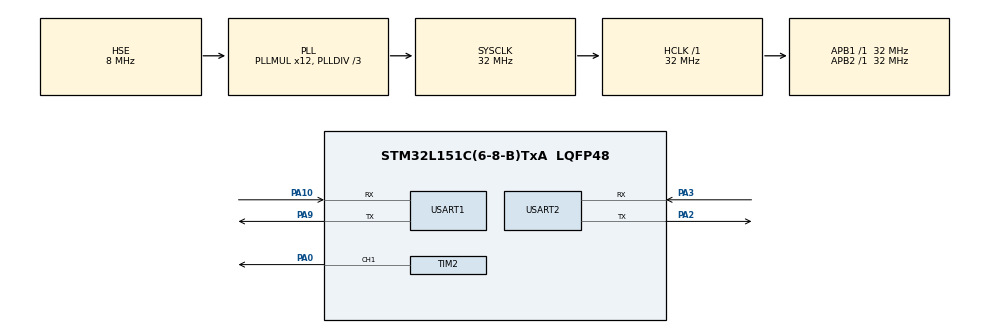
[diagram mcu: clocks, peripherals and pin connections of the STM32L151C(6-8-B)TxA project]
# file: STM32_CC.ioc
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Dma.Request0=TIM2_CH1
Dma.TIM2_CH1.0.Direction=DMA_MEMORY_TO_PERIPH
Dma.TIM2_CH1.0.Instance=DMA1_Channel5
Dma.TIM2_CH1.0.MemDataAlignment=DMA_MDATAALIGN_HALFWORD
Dma.TIM2_CH1.0.MemInc=DMA_MINC_ENABLE
Dma.TIM2_CH1.0.Mode=DMA_NORMAL
Dma.TIM2_CH1.0.PeriphDataAlignment=DMA_PDATAALIGN_HALFWORD
Dma.TIM2_CH1.0.PeriphInc=DMA_PINC_DISABLE
Dma.TIM2_CH1.0.Priority=DMA_PRIORITY_MEDIUM
Mcu.Family=STM32L1
Mcu.Name=STM32L151C(6-8-B)TxA
Mcu.Package=LQFP48
NVIC.DMA1_Channel5_IRQn=true\:1\:0\:true\:false\:true\:false\:true
NVIC.PriorityGroup=NVIC_PRIORITYGROUP_4
NVIC.TIM2_IRQn=true\:1\:0\:true\:false\:true\:true\:true
NVIC.USART1_IRQn=true\:2\:0\:true\:false\:true\:true\:true
NVIC.USART2_IRQn=true\:2\:0\:true\:false\:true\:true\:true
PA0-WKUP1.Signal=S_TIM2_CH1_ETR
PA10.Mode=Asynchronous
PA10.Signal=USART1_RX
PA13.Mode=Serial_Wire
PA13.Signal=SYS_JTMS-SWDIO
PA14.Mode=Serial_Wire
PA14.Signal=SYS_JTCK-SWCLK
PA2.Mode=Asynchronous
PA2.Signal=USART2_TX
PA3.Mode=Asynchronous
PA3.Signal=USART2_RX
PA9.Mode=Asynchronous
PA9.Signal=USART1_TX
PC14-OSC32_IN.Mode=LSE-External-Oscillator
PC14-OSC32_IN.Signal=RCC_OSC32_IN
PC15-OSC32_OUT.Mode=LSE-External-Oscillator
PC15-OSC32_OUT.Signal=RCC_OSC32_OUT
PH0-OSC_IN.Mode=HSE-External-Oscillator
PH0-OSC_IN.Signal=RCC_OSC_IN
PH1-OSC_OUT.Mode=HSE-External-Oscillator
PH1-OSC_OUT.Signal=RCC_OSC_OUT
ProjectManager.HeapSize=0x800
ProjectManager.StackSize=0xF00
ProjectManager.TargetToolchain=MDK-ARM V5
RCC.48MHZClocksFreq_Value=48000000
RCC.AHBFreq_Value=32000000
RCC.APB1Freq_Value=32000000
RCC.APB1TimFreq_Value=32000000
RCC.APB2Freq_Value=32000000
RCC.APB2TimFreq_Value=32000000
RCC.HCLKFreq_Value=32000000
RCC.HSE_VALUE=8000000
RCC.HSI_VALUE=16000000
RCC.MSI_VALUE=2097000
RCC.PLLDIV=RCC_PLL_DIV3
RCC.PLLMUL=RCC_PLL_MUL12
RCC.PLLSourceVirtual=RCC_PLLSOURCE_HSE
RCC.SYSCLKFreq_VALUE=32000000
RCC.SYSCLKSource=RCC_SYSCLKSOURCE_PLLCLK
RCC.VCOOutputFreq_Value=96000000
SH.S_TIM2_CH1_ETR.0=TIM2_CH1,PWM Generation1 CH1
TIM2.Channel-PWM\ Generation1\ CH1=TIM_CHANNEL_1
TIM2.Period=40-1
USART1.VirtualMode=VM_ASYNC
USART2.VirtualMode=VM_ASYNC
VP_TIM2_VS_ClockSourceINT.Mode=Internal
board=custom

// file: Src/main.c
/* USER CODE BEGIN Header */
/**
  ******************************************************************************
  * @file           : main.c
  * @brief          : Main program body
  ******************************************************************************
  * @attention
  *
  * <h2><center>&copy; Copyright (c) 2020 STMicroelectronics.
  * All rights reserved.</center></h2>
  *
  * This software component is licensed by ST under BSD 3-Clause license,
  * the "License"; You may not use this file except in compliance with the
  * License. You may obtain a copy of the License at:
  *                        opensource.org/licenses/BSD-3-Clause
  *
  ******************************************************************************
  */
/* USER CODE END Header */

#include "main.h"

/* USER CODE BEGIN Includes */
#include "string.h"
#include "stdio.h"
#include "stdlib.h"

#include "colorset.h"
#include "ws2812b.h"
/* USER CODE END Includes */

TIM_HandleTypeDef htim2;
DMA_HandleTypeDef hdma_tim2_ch1;

UART_HandleTypeDef huart1;
UART_HandleTypeDef huart2;

/* USER CODE BEGIN PV */
#define MAX_RECV_LEN 128

char  recv[100];
int recvtype=0;

int ONOFF_FLG=0;

char g[] ="255";
char b[] ="255";
char r[] ="255";

/* USER CODE END PV */

void SystemClock_Config(void);
static void MX_GPIO_Init(void);
static void MX_DMA_Init(void);
static void MX_TIM2_Init(void);
static void MX_USART1_UART_Init(void);
static void MX_USART2_UART_Init(void);
/* USER CODE BEGIN PFP */
uint8_t rx1_buff[MAX_RECV_LEN] = {0};  // 串口接收数据缓冲
uint8_t * pBuf = rx1_buff;  // 当前接收字节存放位置指针
uint8_t line_flag = 0;      // 一行数据接收标志
HAL_StatusTypeDef rxit_ok; 	// 接收中断是否开启
uint8_t rx2_buff[MAX_RECV_LEN] = {0};  // 串口接收数据缓冲
uint8_t * pBuf2 = rx2_buff; // 当前接收字节存放位置指针
uint8_t line_flag2 = 0;     // 一行数据接收标志
HAL_StatusTypeDef rxit_ok2; // 接收中断是否开启
/* USER CODE END PFP */

/* USER CODE BEGIN 0 */
//Transmit data to uart
int fputc(int ch, FILE *f) {
    HAL_UART_Transmit(&huart1, (uint8_t *)&ch, 1, 0xffff); // 向串口1发送一个字符
		HAL_UART_Transmit(&huart2, (uint8_t *)&ch, 1, 0xffff); // 向串口1发送一个字符
    return 0;
}
//spilit
void split( char **arr, char *str, const char *del)//字符分割函数的简单定义和实知现
{
	char *s =NULL;
	s=strtok(str,del);
	while(s != NULL)
	{
	*arr++ = s;
	s = strtok(NULL,del);
	}
}
//setlights
void setLights(){
	if(ONOFF_FLG==1){
		char *rx_t=rx2_buff;
		char *token;
		token=strtok(rx_t,"|");
		strcpy(g,token);

		token=strtok(NULL,"|");
		strcpy(b,token);

		token=strtok(NULL,"|");
		strcpy(r,token);

		uint8_t g_t=atoi(g);
		uint8_t b_t=atoi(b);
		uint8_t r_t=atoi(r);
		setAllPixelColor(g_t,b_t,r_t);
    WS2812B_Show();

}
	}
//processData
void processData(uint8_t* rx_buff){
	if(strcmp(rx_buff,"ON\n")==0){
		ONOFF_FLG=1;
	}else
	if(strcmp(rx_buff,"OFF\n")==0){
		ONOFF_FLG=0;
		setAllPixelColor(0,0,0);
    WS2812B_Show();
	}else
	{
		setLights();
	}

}
//process BlueTooth data
void ifRecData(){
		if (line_flag) {    // 如果串口1接收到一行数据
			printf("rx1_rec_data = %s", rx1_buff);        // 打印输出接收内容
			memset(rx1_buff, 0, sizeof(rx1_buff));   // 清空串口1缓存区
			pBuf = rx1_buff;// 重新将串口1接收数据的存放指针指向接收缓存的头部
			(&huart1)->pRxBuffPtr = pBuf;    // 重新将串口1结构体中的接收缓冲指针指向缓冲数组头部
			line_flag = 0;  // 串口1接收标志清零
		}
		if (line_flag2) {		// 如果串口2接收到一行数据
			processData(rx2_buff);
			memset(rx2_buff, 0, sizeof(rx2_buff));   // 清空串口2缓存区
			pBuf2 = rx2_buff;// 重新将串口2接收数据的存放指针指向接收缓存的头部
			(&huart2)->pRxBuffPtr = pBuf2;    // 重新将串口2结构体中的接收缓冲指针指向缓冲数组头部
			line_flag2 = 0;  // 串口2接收标志清零
		}
		if (rxit_ok != HAL_OK)		// 如果串口1接收中断还没有启动，尝试再次启动
			rxit_ok = HAL_UART_Receive_IT(&huart1, pBuf, 1);
		if (rxit_ok2 != HAL_OK)		// 如果串口2接收中断还没有启动，尝试再次启动
			rxit_ok2 = HAL_UART_Receive_IT(&huart2, pBuf, 1);
}
//uart interupt callback funtion
void HAL_UART_RxCpltCallback(UART_HandleTypeDef *UartHandle) {
  uint8_t cnt = 0; // 临时变量，用于重复计数
  if (UartHandle->Instance == USART1)
  {
    ++ pBuf;  // 已接收一个字节数据，当前存储位置指针后移
    if(pBuf == rx1_buff + MAX_RECV_LEN)  // 如果指针已移出数组边界
        pBuf = rx1_buff;    // 重新指向数组开头
    else if(*(pBuf - 1) == '\n')  // 如果之前接收到‘\n’换行符，则表示接收完成
        line_flag  = 1;
    // 重新开启接收中断
    do {
        rxit_ok = HAL_UART_Receive_IT(UartHandle, pBuf, 1);
        if (++cnt >= 5)
            break;
    } while(rxit_ok != HAL_OK);
  }
  else if(UartHandle->Instance == USART2)
  {
    ++ pBuf2;  // 已接收一个字节数据，当前存储位置指针后移
    if(pBuf2 == rx2_buff + MAX_RECV_LEN)  // 如果指针已移出数组边界
        pBuf2 = rx2_buff;    // 重新指向数组开头
    else if(*(pBuf2 - 1) == '\n')  // 如果之前接收到‘\n’换行符，则表示接收完成
        line_flag2  = 1;
    // 重新开启接收中断
    do {
        rxit_ok2 = HAL_UART_Receive_IT(UartHandle, pBuf2, 1);
        if (++cnt >= 5)
            break;
    } while(rxit_ok2 != HAL_OK);
  }
	ifRecData();
}
/* USER CODE END 0 */

int main(void)
{

  /* MCU Configuration--------------------------------------------------------*/

  /* Reset of all peripherals, Initializes the Flash interface and the Systick. */
  HAL_Init();

  /* Configure the system clock */
  SystemClock_Config();

  /* Initialize all configured peripherals */
  MX_GPIO_Init();
  MX_DMA_Init();
  MX_TIM2_Init();
  MX_USART1_UART_Init();
  MX_USART2_UART_Init();
  /* USER CODE BEGIN 2 */
	printf("Wireless Control Ceiling Lights\n");
	rxit_ok = HAL_UART_Receive_IT(&huart1, pBuf, 1);
	rxit_ok2 = HAL_UART_Receive_IT(&huart2, pBuf2, 1);

  HAL_TIM_PWM_Start(&htim2, TIM_CHANNEL_1);
  WS2812B_Init();
  /* USER CODE END 2 */

  /* Infinite loop */
  while (1)
  {

  }
}

void SystemClock_Config(void)
{
  RCC_OscInitTypeDef RCC_OscInitStruct = {0};
  RCC_ClkInitTypeDef RCC_ClkInitStruct = {0};

  /** Configure the main internal regulator output voltage
  */
  __HAL_PWR_VOLTAGESCALING_CONFIG(PWR_REGULATOR_VOLTAGE_SCALE1);
  /** Initializes the CPU, AHB and APB busses clocks
  */
  RCC_OscInitStruct.OscillatorType = RCC_OSCILLATORTYPE_HSE;
  RCC_OscInitStruct.HSEState = RCC_HSE_ON;
  RCC_OscInitStruct.PLL.PLLState = RCC_PLL_ON;
  RCC_OscInitStruct.PLL.PLLSource = RCC_PLLSOURCE_HSE;
  RCC_OscInitStruct.PLL.PLLMUL = RCC_PLL_MUL12;
  RCC_OscInitStruct.PLL.PLLDIV = RCC_PLL_DIV3;
  if (HAL_RCC_OscConfig(&RCC_OscInitStruct) != HAL_OK)
  {
    Error_Handler();
  }
  /** Initializes the CPU, AHB and APB busses clocks
  */
  RCC_ClkInitStruct.ClockType = RCC_CLOCKTYPE_HCLK|RCC_CLOCKTYPE_SYSCLK
                              |RCC_CLOCKTYPE_PCLK1|RCC_CLOCKTYPE_PCLK2;
  RCC_ClkInitStruct.SYSCLKSource = RCC_SYSCLKSOURCE_PLLCLK;
  RCC_ClkInitStruct.AHBCLKDivider = RCC_SYSCLK_DIV1;
  RCC_ClkInitStruct.APB1CLKDivider = RCC_HCLK_DIV1;
  RCC_ClkInitStruct.APB2CLKDivider = RCC_HCLK_DIV1;

  if (HAL_RCC_ClockConfig(&RCC_ClkInitStruct, FLASH_LATENCY_1) != HAL_OK)
  {
    Error_Handler();
  }
}

static void MX_TIM2_Init(void)
{

  TIM_ClockConfigTypeDef sClockSourceConfig = {0};
  TIM_MasterConfigTypeDef sMasterConfig = {0};
  TIM_OC_InitTypeDef sConfigOC = {0};

  htim2.Instance = TIM2;
  htim2.Init.Prescaler = 0;
  htim2.Init.CounterMode = TIM_COUNTERMODE_UP;
  htim2.Init.Period = 40-1;
  htim2.Init.ClockDivision = TIM_CLOCKDIVISION_DIV1;
  htim2.Init.AutoReloadPreload = TIM_AUTORELOAD_PRELOAD_DISABLE;
  if (HAL_TIM_Base_Init(&htim2) != HAL_OK)
  {
    Error_Handler();
  }
  sClockSourceConfig.ClockSource = TIM_CLOCKSOURCE_INTERNAL;
  if (HAL_TIM_ConfigClockSource(&htim2, &sClockSourceConfig) != HAL_OK)
  {
    Error_Handler();
  }
  if (HAL_TIM_PWM_Init(&htim2) != HAL_OK)
  {
    Error_Handler();
  }
  sMasterConfig.MasterOutputTrigger = TIM_TRGO_RESET;
  sMasterConfig.MasterSlaveMode = TIM_MASTERSLAVEMODE_DISABLE;
  if (HAL_TIMEx_MasterConfigSynchronization(&htim2, &sMasterConfig) != HAL_OK)
  {
    Error_Handler();
  }
  sConfigOC.OCMode = TIM_OCMODE_PWM1;
  sConfigOC.Pulse = 0;
  sConfigOC.OCPolarity = TIM_OCPOLARITY_HIGH;
  sConfigOC.OCFastMode = TIM_OCFAST_DISABLE;
  if (HAL_TIM_PWM_ConfigChannel(&htim2, &sConfigOC, TIM_CHANNEL_1) != HAL_OK)
  {
    Error_Handler();
  }
  HAL_TIM_MspPostInit(&htim2);

}

static void MX_USART1_UART_Init(void)
{

  huart1.Instance = USART1;
  huart1.Init.BaudRate = 115200;
  huart1.Init.WordLength = UART_WORDLENGTH_8B;
  huart1.Init.StopBits = UART_STOPBITS_1;
  huart1.Init.Parity = UART_PARITY_NONE;
  huart1.Init.Mode = UART_MODE_TX_RX;
  huart1.Init.HwFlowCtl = UART_HWCONTROL_NONE;
  huart1.Init.OverSampling = UART_OVERSAMPLING_16;
  if (HAL_UART_Init(&huart1) != HAL_OK)
  {
    Error_Handler();
  }

}

static void MX_USART2_UART_Init(void)
{

  huart2.Instance = USART2;
  huart2.Init.BaudRate = 115200;
  huart2.Init.WordLength = UART_WORDLENGTH_8B;
  huart2.Init.StopBits = UART_STOPBITS_1;
  huart2.Init.Parity = UART_PARITY_NONE;
  huart2.Init.Mode = UART_MODE_TX_RX;
  huart2.Init.HwFlowCtl = UART_HWCONTROL_NONE;
  huart2.Init.OverSampling = UART_OVERSAMPLING_16;
  if (HAL_UART_Init(&huart2) != HAL_OK)
  {
    Error_Handler();
  }

}

static void MX_DMA_Init(void)
{

  /* DMA controller clock enable */
  __HAL_RCC_DMA1_CLK_ENABLE();

  /* DMA interrupt init */
  /* DMA1_Channel5_IRQn interrupt configuration */
  HAL_NVIC_SetPriority(DMA1_Channel5_IRQn, 1, 0);
  HAL_NVIC_EnableIRQ(DMA1_Channel5_IRQn);

}

static void MX_GPIO_Init(void)
{

  /* GPIO Ports Clock Enable */
  __HAL_RCC_GPIOC_CLK_ENABLE();
  __HAL_RCC_GPIOH_CLK_ENABLE();
  __HAL_RCC_GPIOA_CLK_ENABLE();

}

void Error_Handler(void)
{
}

/************************ (C) COPYRIGHT STMicroelectronics *****END OF FILE****/
